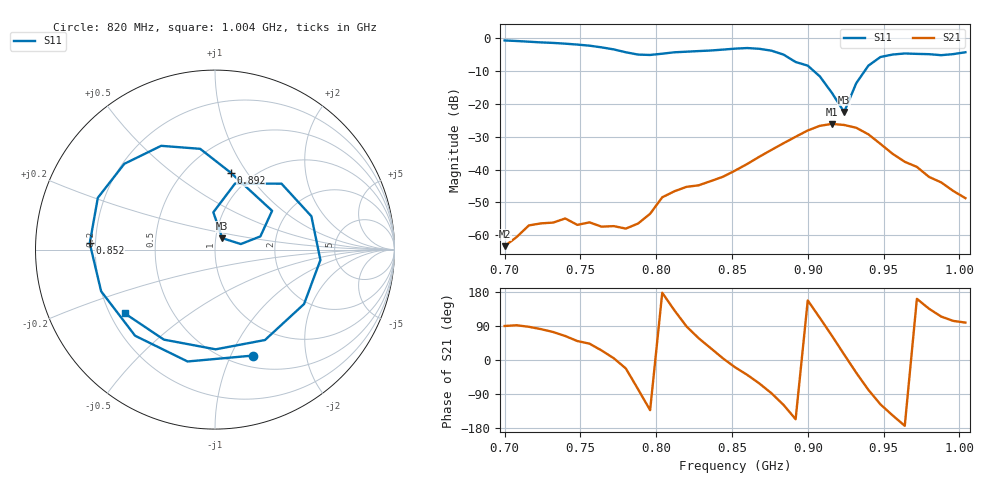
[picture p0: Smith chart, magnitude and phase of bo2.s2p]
# Hz S RI R 50
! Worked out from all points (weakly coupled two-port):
!   39 points, 700 MHz to 1.004 GHz, reference 50 ohm
!   highest |S21| = -26.06 dB at 916 MHz (marker M1); lowest = -63.3 dB at 700 MHz (marker M2)
!   lowest |S11| = -22.4 dB at 924 MHz (marker M3), VSWR 1.16, Z = 53.8 + j6.87 ohm
!   |S11| at or under -10 dB: 904.1 MHz to 937.4 MHz (33.31 MHz wide, 3.62 % of centre)
!   S12 and S22 are empty: the file has one direction only
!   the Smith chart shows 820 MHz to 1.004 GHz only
!   S11 on the Smith chart (normalised r, x): 820 MHz: 0.63, -1.22; 852 MHz: 0.18, +0.02; 892 MHz: 0.80, +0.84; 1.004 GHz: 0.26, -0.30
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7e8  0.769 0.5259  3e-06 0.000681  0 0  0 0
7.24e8  0.8297 -0.2617  0.000226 0.0015  0 0  0 0
7.4e8  0.4412 -0.7059  0.000808 0.00161  0 0  0 0
7.56e8  -0.2029 -0.7486  0.00115 0.00107  0 0  0 0
7.72e8  -0.657 -0.1771  0.00137 0.000112  0 0  0 0
7.8e8  -0.5638 0.2463  0.00117 -0.000481  0 0  0 0
7.88e8  -0.1954 0.5328  0.000343 -0.00146  0 0  0 0
7.96e8  0.287 0.4808  -0.00143 -0.00157  0 0  0 0
8.04e8  0.5753 0.1085  -0.00378 0.000165  0 0  0 0
8.2e8  0.2143 -0.5902  0.000134 0.00546  0 0  0 0
8.36e8  -0.4452 -0.4799  0.00572 0.00345  0 0  0 0
8.52e8  -0.6979 0.0353  0.00912 -0.00316  0 0  0 0
8.76e8  -0.3 0.5782  0.000861 -0.0199  0 0  0 0
8.92e8  0.0879 0.4283  -0.029 -0.0128  0 0  0 0
9e8  0.3182 0.2162  -0.0365 0.0153  0 0  0 0
9.08e8  0.253 0.0736  -0.0167 0.0435  0 0  0 0
9.16e8  0.1439 0.0309  0.0221 0.0446  0 0  0 0
9.24e8  0.0407 0.0635  0.0464 0.012  0 0  0 0
9.4e8  0.1118 0.3682  0.00671 -0.0339  0 0  0 0
9.56e8  0.537 0.1858  -0.0145 -0.00967  0 0  0 0
9.8e8  0.2783 -0.5038  -0.00551 0.00544  0 0  0 0
1.004e9  -0.503 -0.3551  -0.000557 0.00363  0 0  0 0
